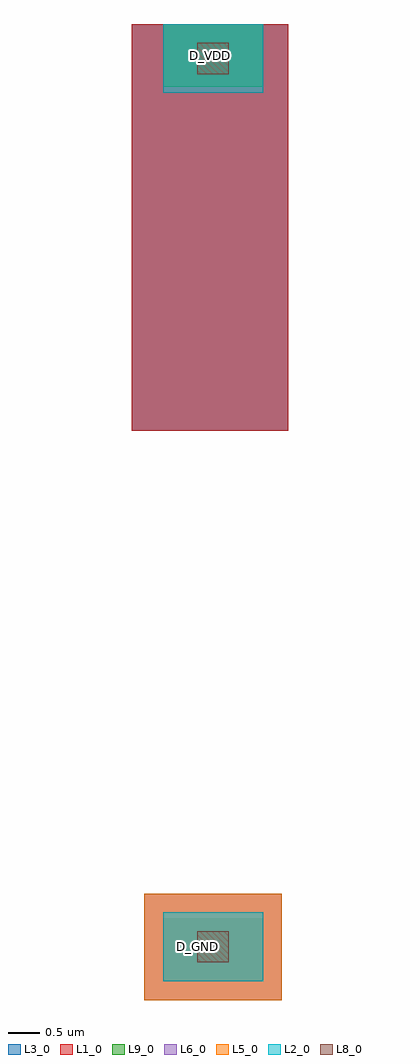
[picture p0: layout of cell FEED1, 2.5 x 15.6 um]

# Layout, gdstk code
import gdstk
lib = gdstk.Library(unit=1e-6, precision=1e-09)
def R(c, l, rs):  # rectangles x0, y0, x1, y1
    for r in rs: c.add(gdstk.rectangle(r[:2], r[2:], *l))
L1_0 = (1, 0)
L2_0 = (2, 0)
L3_0 = (3, 0)
L5_0 = (5, 0)
L6_0 = (6, 0)
L8_0 = (8, 0)
L9_0 = (9, 0)

feed1 = lib.new_cell('FEED1')
R(feed1, L1_0, [(-0.5,8.8,2,15.3)])
R(feed1, L2_0, [(0,0,1.6,1.1), (0,14.2,1.6,15.3)])
R(feed1, L3_0, [(-0.5,8.8,2,15.3)])
R(feed1, L5_0, [(-0.3,-0.3,1.9,1.4)])
R(feed1, L6_0, [(-0.3,-0.3,1.9,1.4)])
R(feed1, L8_0, [(0.55,0.3,1.05,0.8), (0.55,14.5,1.05,15)])
R(feed1, L9_0, [(0,0,1.6,1), (0.1,0.1,1,1), (0,14.3,1.6,15.3), (0.3,14.35,1.2,15.25)])
feed1.add(gdstk.Label('D_GND', (0.55,0.55), layer=50, texttype=0))
feed1.add(gdstk.Label('D_VDD', (0.75,14.8), layer=50, texttype=0))

lib.write_gds('FEED1.gds')
